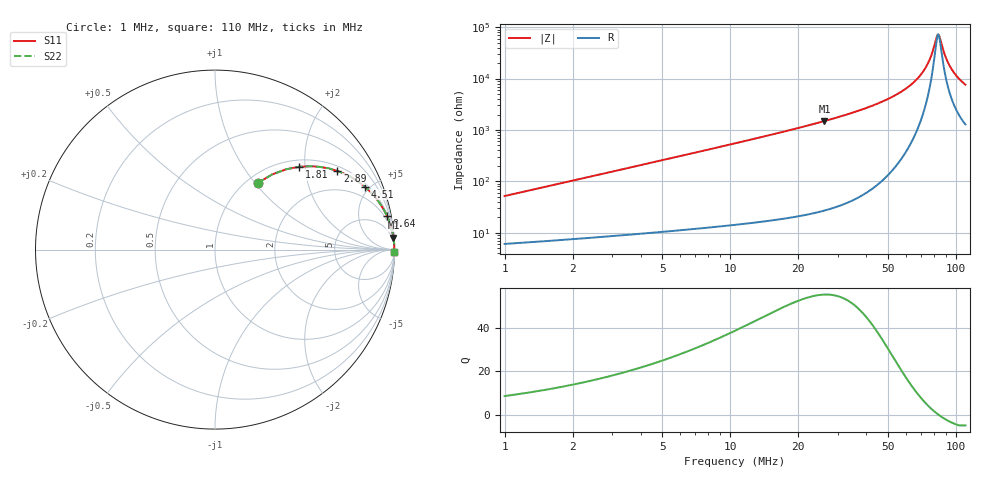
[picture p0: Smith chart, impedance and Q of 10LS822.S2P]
! Coilcraft 1008LS-822 Chip Inductor
! 5 August 2002
# MHZ S MA R 50
!Freq  MagS11  AngS11  MagS21  AngS21  MagS12  AngS12  MagS22  AngS22
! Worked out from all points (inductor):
!   405 points, 1 MHz to 110 MHz, reference 50 ohm
!   read as one part in series: L = 8.2 uH near 1.54 MHz
!   highest Q = 55.1 at 26.11 MHz (marker M1), where L = 9.09 uH
!   self-resonance near 83.35 MHz
!   S11 on the Smith chart (normalised r, x): 1 MHz: 1.12, +1.03; 1.81 MHz: 1.15, +1.87; 2.89 MHz: 1.17, +2.98; 4.51 MHz: 1.20, +4.66; 9.64 MHz: 1, +10; 110 MHz: open
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1  0.44 57.4  0.848 -25.9  0.848 -25.9  0.44 57.4
1.81  0.6582 44.5  0.7034 -41.0  0.7034 -41.0  0.6582 44.5
2.89  0.8098 32.8  0.5423 -53.9  0.5423 -53.9  0.8098 32.8
4.51  0.9051 22.8  0.388 -64.7  0.388 -64.7  0.9051 22.8
6.67  0.9522 16.0  0.2751 -72.1  0.2751 -72.1  0.9522 16.0
9.64  0.9758 11.2  0.1938 -77.3  0.1938 -77.3  0.9758 11.2
13.96  0.9881 7.7  0.1335 -81.1  0.1335 -81.1  0.9881 7.7
19.36  0.9937 5.4  0.09423 -83.5  0.09423 -83.5  0.9937 5.4
26.11  0.9966 3.8  0.0668 -85.1  0.0668 -85.1  0.9966 3.8
37.45  0.9983 2.4  0.04129 -86.4  0.04129 -86.4  0.9983 2.4
55.54  0.9989 1.1  0.01943 -86.3  0.01943 -86.3  0.9989 1.1
66.34  0.9989 0.6  0.01077 -84.0  0.01077 -84.0  0.9989 0.6
73.9  0.9988 0.3  0.005755 -78.1  0.005755 -78.1  0.9988 0.3
77.95  0.9987 0.2  0.00339 -68.2  0.00339 -68.2  0.9987 0.2
82.27  0.9986 0.0  0.001502 -25.5  0.001502 -25.5  0.9986 0.0
83.35  0.9986 0.0  0.001384 -1.8  0.001384 -1.8  0.9986 0.0
84.7  0.9986 -0.0  0.001582 26.3  0.001582 26.3  0.9986 -0.0
89.02  0.9985 -0.2  0.003376 62.7  0.003376 62.7  0.9985 -0.2
91.99  0.9984 -0.3  0.004812 70.0  0.004812 70.0  0.9984 -0.3
95.5  0.9983 -0.4  0.006507 74.2  0.006507 74.2  0.9983 -0.4
99.55  0.9981 -0.5  0.008422 76.8  0.008422 76.8  0.9981 -0.5
110  0.9977 -0.7  0.01312 79.5  0.01312 79.5  0.9977 -0.7
